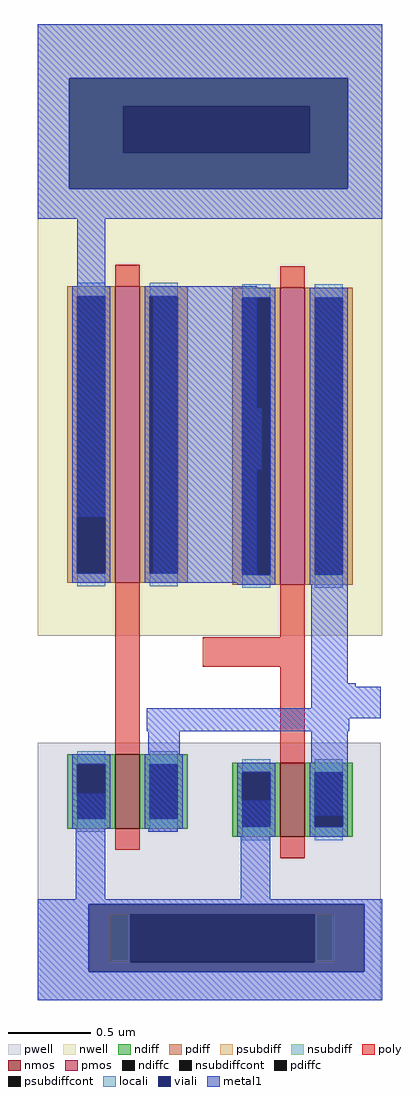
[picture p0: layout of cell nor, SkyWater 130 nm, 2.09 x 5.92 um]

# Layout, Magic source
magic
tech sky130A
magscale 1 2
<< nwell >>
rect -62 -304 356 438
<< pwell >>
rect -62 -746 354 -434
<< psubdiff >>
rect 26 -700 50 -642
rect 274 -700 298 -642
<< nsubdiff >>
rect -24 338 314 372
rect -24 282 42 338
rect 268 282 314 338
rect -24 238 314 282
<< psubdiffcont >>
rect 50 -700 274 -642
<< nsubdiffcont >>
rect 42 282 268 338
<< poly >>
rect 32 -436 62 -258
rect 232 -306 262 -258
rect 138 -342 262 -306
rect 232 -434 262 -342
<< viali >>
rect -24 338 314 372
rect -24 282 42 338
rect 42 282 268 338
rect 268 282 314 338
rect -24 238 314 282
rect 0 -642 334 -630
rect 0 -700 50 -642
rect 50 -700 274 -642
rect 274 -700 334 -642
rect 0 -712 334 -700
<< metal1 >>
rect -62 372 356 438
rect -62 238 -24 372
rect 314 238 356 372
rect -62 202 356 238
rect -14 -160 20 202
rect 78 -28 204 120
rect 78 -102 210 -28
rect 78 -240 204 -102
rect 274 -212 312 112
rect 270 -362 314 -212
rect 270 -366 324 -362
rect 270 -392 354 -366
rect 70 -404 354 -392
rect 70 -420 316 -404
rect 72 -492 110 -420
rect -16 -624 20 -496
rect 72 -542 108 -492
rect 184 -624 220 -504
rect 270 -522 314 -420
rect -62 -630 356 -624
rect -62 -712 0 -630
rect 334 -712 356 -630
rect -62 -746 356 -712
use sky130_fd_pr__pfet_01v8_5CNMEE  sky130_fd_pr__pfet_01v8_5CNMEE_0
transform 1 0 47 0 1 -60
box -109 -242 109 242
use sky130_fd_pr__pfet_01v8_5CNMEE  sky130_fd_pr__pfet_01v8_5CNMEE_1
transform 1 0 247 0 1 -62
box -109 -242 109 242
use sky130_fd_pr__nfet_01v8_J836M4  sky130_fd_pr__nfet_01v8_J836M4_0
transform 1 0 47 0 1 -493
box -73 -71 73 71
use sky130_fd_pr__nfet_01v8_J836M4  sky130_fd_pr__nfet_01v8_J836M4_1
transform 1 0 247 0 1 -503
box -73 -71 73 71
<< properties >>
string gencell sky130_fd_pr__pfet_01v8
string parameters w 0.9 l 0.15 m 1 nf 2 diffcov 100 polycov 100 guard 0 glc 0 grc 0 gtc 0 gbc 0 tbcov 100 rlcov 100 topc 0 botc 0 poverlap 0 doverlap 1 lmin 0.15 wmin 0.42 compatible {sky130_fd_pr__pfet_01v8  sky130_fd_pr__pfet_01v8_lvt sky130_fd_pr__pfet_01v8_hvt  sky130_fd_pr__pfet_g5v0d10v5} full_metal 0 viasrc 100 viadrn 100 viagate 100 viagb 0 viagr 0 viagl 0 viagt 0
string library sky130
<< end >>

# cell sky130_fd_pr__pfet_01v8_5CNMEE: kit device sky130_fd_pr__pfet_01v8, w 1.8 l 0.15 m 1 nf 1 diffcov 100 polycov 100 guard 0 glc 0 grc 0 gtc 0 gbc 0 tbcov 100 rlcov 100 topc 0 botc 0 poverlap 0 doverlap 1 lmin 0.15 wmin 0.42 compatible {sky130_fd_pr__pfet_01v8 sky130_fd_pr__pfet_01v8_lvt sky130_fd_pr__pfet_01v8_hvt sky130_fd_pr__pfet_g5v0d10v5} full_metal 0 viasrc 100 viadrn 100 viagate 100 viagb 0 viagr 0 viagl 0 viagt 0

# cell sky130_fd_pr__nfet_01v8_J836M4: kit device sky130_fd_pr__nfet_01v8, w 0.45 l 0.150 m 1 nf 1 diffcov 100 polycov 100 guard 0 glc 0 grc 0 gtc 0 gbc 0 tbcov 100 rlcov 100 topc 0 botc 0 poverlap 0 doverlap 1 lmin 0.15 wmin 0.42 compatible {sky130_fd_pr__nfet_01v8 sky130_fd_pr__nfet_01v8_lvt sky130_fd_bs_flash__special_sonosfet_star sky130_fd_pr__nfet_g5v0d10v5 sky130_fd_pr__nfet_05v0_nvt} full_metal 0 viasrc 100 viadrn 100 viagate 100 viagb 0 viagr 0 viagl 0 viagt 0
